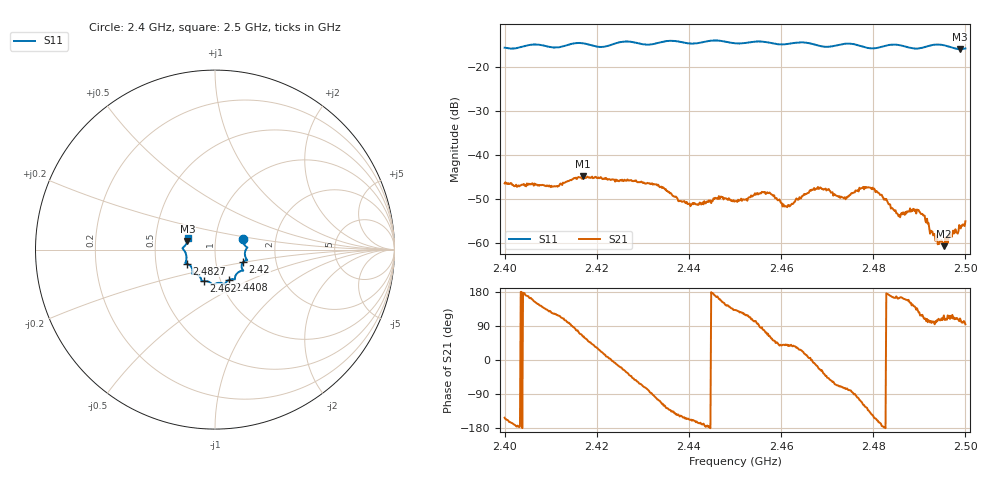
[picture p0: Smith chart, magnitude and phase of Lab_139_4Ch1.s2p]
# Hz S RI R 50
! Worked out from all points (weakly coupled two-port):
!   601 points, 2.4 GHz to 2.5 GHz, reference 50 ohm
!   highest |S21| = -44.84 dB at 2.417 GHz (marker M1); lowest = -60.8 dB at 2.4953 GHz (marker M2)
!   lowest |S11| = -15.9 dB at 2.4988 GHz (marker M3), VSWR 1.38, Z = 36.5 + j3.4 ohm
!   |S11| at or under -10 dB: start of sweep to end of sweep
!   S12 and S22 are empty: the file has one direction only
!   S11 on the Smith chart (normalised r, x): 2.4 GHz: 1.35, +0.17; 2.42 GHz: 1.36, -0.19; 2.4408 GHz: 1.10, -0.38; 2.462 GHz: 0.83, -0.30; 2.4827 GHz: 0.72, -0.12; 2.5 GHz: 0.73, +0.09
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2.4e9  0.1552 0.0616  -0.00421 -0.00221  0 0  0 0
2.411e9  0.1666 -0.0177  -0.00225 0.00377  0 0  0 0
2.416667e9  0.1787 -0.059  0.00212 0.00514  0 0  0 0
2.417e9  0.1777 -0.0592  0.00269 0.00506  0 0  0 0
2.42e9  0.157 -0.0694  0.00462 0.00291  0 0  0 0
2.433333e9  0.112 -0.1526  -0.00117 -0.00444  0 0  0 0
2.440833e9  0.0781 -0.1687  -0.00264 -0.00106  0 0  0 0
2.446833e9  0.0501 -0.1934  -0.00309 0.00127  0 0  0 0
2.45e9  0.0273 -0.1853  -0.00198 0.00222  0 0  0 0
2.456e9  -0.0139 -0.195  0.0006 0.00372  0 0  0 0
2.462e9  -0.0621 -0.1753  0.00208 0.00164  0 0  0 0
2.466667e9  -0.0764 -0.1683  0.00403 2.58e-05  0 0  0 0
2.473833e9  -0.1252 -0.1361  0.000935 -0.00317  0 0  0 0
2.479e9  -0.1287 -0.1034  -0.00294 -0.00312  0 0  0 0
2.482667e9  -0.1576 -0.0776  -0.00309 -2.09e-06  0 0  0 0
2.483333e9  -0.1615 -0.0765  -0.00273 0.000366  0 0  0 0
2.4855e9  -0.1643 -0.0716  -0.00192 0.000593  0 0  0 0
2.49e9  -0.1625 -0.022  -0.00132 0.00184  0 0  0 0
2.494e9  -0.1812 0.00754  -0.000231 0.000933  0 0  0 0
2.495333e9  -0.1776 0.012  -0.000425 0.000811  0 0  0 0
2.498833e9  -0.1541 0.0453  -0.000492 0.00139  0 0  0 0
2.5e9  -0.1511 0.0626  -0.000132 0.00175  0 0  0 0
